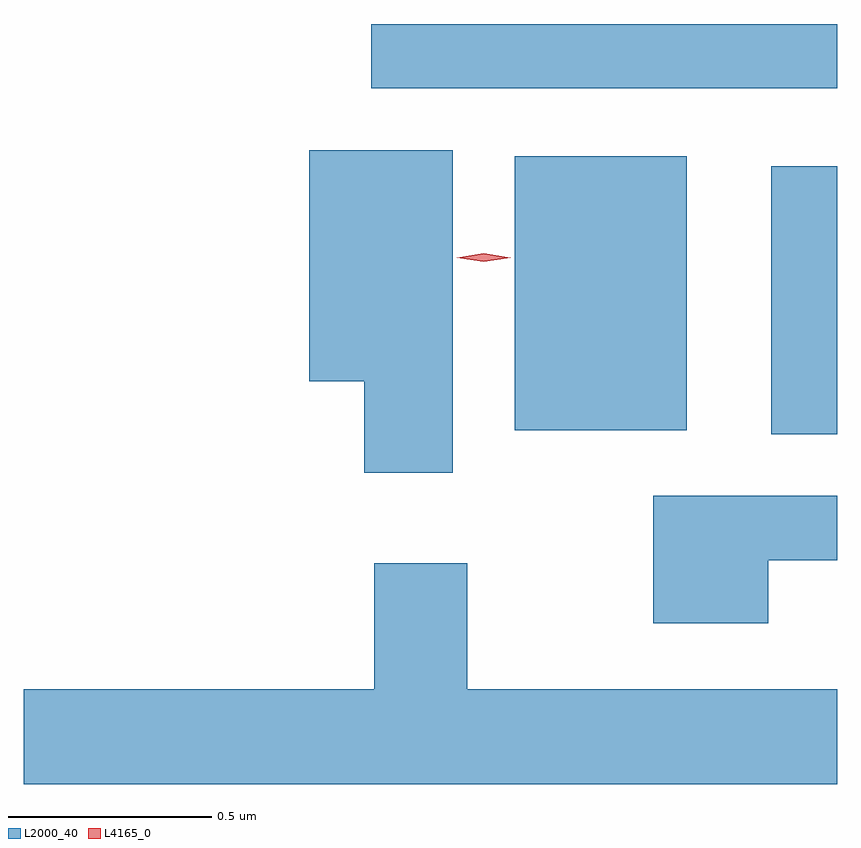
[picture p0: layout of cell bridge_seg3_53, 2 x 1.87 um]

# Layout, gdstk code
import gdstk
lib = gdstk.Library(unit=1e-6, precision=1e-09)
def R(c, l, rs):  # rectangles x0, y0, x1, y1
    for r in rs: c.add(gdstk.rectangle(r[:2], r[2:], *l))
def P(c, l, *ps):  # polygons
    for p in ps: c.add(gdstk.Polygon(p, *l))
L2000_40 = (2000, 40)
L4165_0 = (4165, 0)

bridge_seg3_53 = lib.new_cell('bridge_seg3_53')
R(bridge_seg3_53, L2000_40, [(1248.596,1226.811,1248.759,1227.469), (1247.966,1226.821,1248.389,1227.494), (1247.613,1227.661,1248.759,1227.819)])
P(bridge_seg3_53, L2000_40, [(1247.814,1227.509),(1247.461,1227.509),(1247.461,1226.941),(1247.596,1226.941),(1247.596,1226.716),(1247.814,1226.716)],
  [(1248.589,1226.501),(1248.759,1226.501),(1248.759,1226.659),(1248.306,1226.659),(1248.306,1226.346),(1248.589,1226.346)],
  [(1248.759,1226.184),(1247.849,1226.184),(1247.849,1226.494),(1247.621,1226.494),(1247.621,1226.184),(1246.759,1226.184),(1246.759,1225.951),(1248.759,1225.951)])
P(bridge_seg3_53, L4165_0, [(1247.89,1227.235),(1247.823,1227.244),(1247.823,1227.245),(1247.823,1227.245),(1247.89,1227.255),(1247.956,1227.245),(1247.956,1227.245),(1247.956,1227.244)])

lib.write_gds('bridge_seg3_53.gds')
